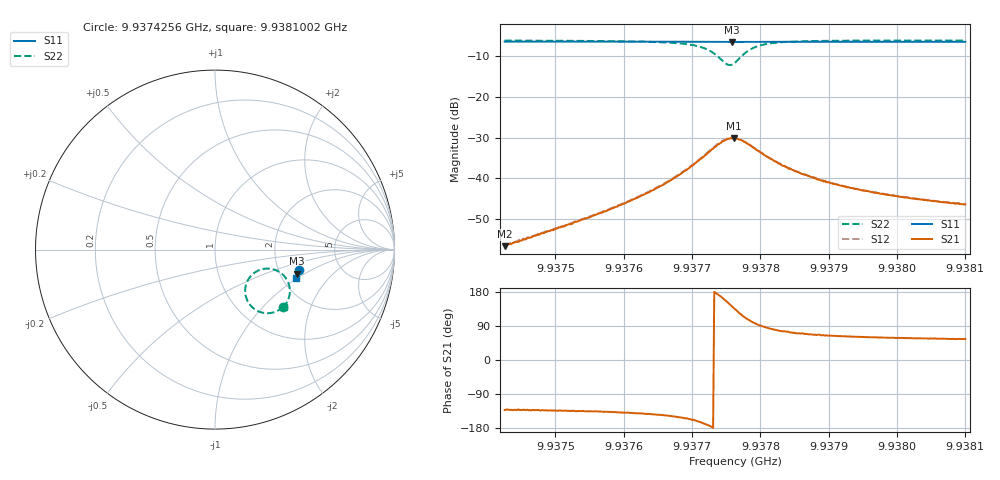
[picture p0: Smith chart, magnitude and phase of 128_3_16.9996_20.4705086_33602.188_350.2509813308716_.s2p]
#  HZ  S  RI  R  50.00
! Rohde & Schwarz Vector Network Analyzer
! Rohde-Schwarz,ZNB20-2Port,1311601062101988,3.16
! Created: UTC 3/20/2024, 10:57:50 PM
! freq[Hz]  re:S11  im:S11  re:S21  im:S21  re:S12  im:S12  re:S22  im:S22
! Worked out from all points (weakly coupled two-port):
!   401 points, 9.9374256 GHz to 9.9381002 GHz, reference 50 ohm
!   highest |S21| = -30.15 dB at 9.9377612 GHz (marker M1); lowest = -56.8 dB at 9.9374256 GHz (marker M2)
!   lowest |S11| = -6.4 dB at 9.9377578 GHz (marker M3), VSWR 2.83, Z = 124 - j43.2 ohm
!   |S11| at or under -10 dB: nowhere
!   |S22| runs from -12.1 to -6.0 dB; largest |S21 - S12| = 0.0016
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9.93742556e9  0.4692 -0.1145  -0.000967 -0.00108  -0.000958 -0.00111  0.3799 -0.32
9.93753856e9  0.4665 -0.1222  -0.00218 -0.00217  -0.00223 -0.00218  0.3635 -0.3324
9.93759928e9  0.4651 -0.1264  -0.00362 -0.00316  -0.00373 -0.00321  0.3479 -0.3418
9.93765157e9  0.4636 -0.1302  -0.00634 -0.00452  -0.00654 -0.00448  0.3213 -0.3511
9.93768699e9  0.4624 -0.1326  -0.0106 -0.0055  -0.0109 -0.00534  0.2847 -0.3542
9.93770554e9  0.4615 -0.1339  -0.0145 -0.00534  -0.015 -0.00501  0.2519 -0.3477
9.93771904e9  0.4605 -0.1346  -0.0188 -0.00381  -0.0193 -0.00356  0.2192 -0.3305
9.93773084e9  0.4598 -0.1352  -0.0231 -0.000471  -0.0238 0.000171  0.1876 -0.297
9.93774265e9  0.459 -0.1352  -0.0267 0.00639  -0.0273 0.00748  0.1681 -0.2363
9.93775108e9  0.4585 -0.1349  -0.0271 0.0133  -0.0271 0.0147  0.1785 -0.1802
9.93775783e9  0.4584 -0.1346  -0.0246 0.0188  -0.0243 0.0202  0.2069 -0.1397
9.9377612e9  0.4587 -0.1345  -0.0226 0.0213  -0.0221 0.0226  0.227 -0.1244
9.93776289e9  0.4587 -0.1346  -0.0216 0.0222  -0.021 0.0235  0.2376 -0.1183
9.93777132e9  0.4591 -0.1345  -0.0152 0.0254  -0.0143 0.0262  0.2937 -0.1056
9.93778144e9  0.4597 -0.135  -0.00799 0.0252  -0.00699 0.0257  0.3487 -0.1189
9.9378e9  0.4605 -0.1368  -0.000271 0.0209  0.000108 0.0208  0.4001 -0.167
9.93783036e9  0.4601 -0.1393  0.00343 0.0141  0.0037 0.0143  0.4171 -0.2245
9.93785397e9  0.4598 -0.1411  0.004 0.0113  0.00419 0.0112  0.4159 -0.2502
9.9378759e9  0.4594 -0.1426  0.00397 0.00942  0.00407 0.00946  0.4122 -0.2658
9.93792144e9  0.4582 -0.1458  0.00365 0.00708  0.00382 0.00704  0.4045 -0.2859
9.9379889e9  0.4565 -0.1507  0.00321 0.00526  0.00332 0.00528  0.3953 -0.3025
9.93810022e9  0.4537 -0.1578  0.00272 0.0039  0.00283 0.00389  0.384 -0.3181
